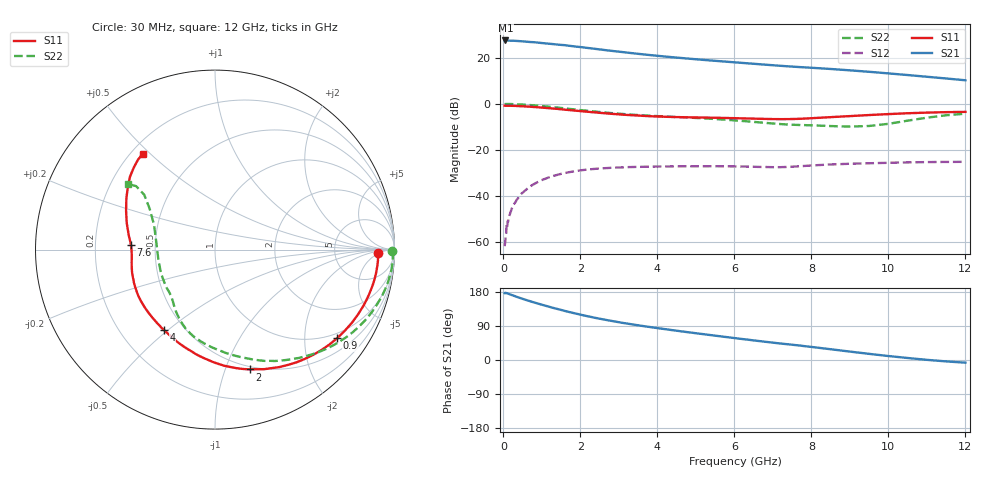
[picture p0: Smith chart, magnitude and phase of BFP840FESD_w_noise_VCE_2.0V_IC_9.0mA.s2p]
! Infineon Technologies  Discrete & RF Semiconductors
! BFP840FESD
! VCE =  2.0 V,  IC =  9.0 mA
! Common Emitter S-Parameters:  May 2012
# GHz  S  MA  R  50
!  f  S11  S21  S12  S22
! GHz  MAG  ANG  MAG  ANG  MAG  ANG  MAG  ANG
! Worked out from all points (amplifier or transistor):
!   103 points, 30 MHz to 12 GHz, reference 50 ohm
!   highest |S21| = 27.6 dB at 50 MHz (marker M1)
!   |S21| within 3 dB of that: start of sweep to 2.063 GHz
!   unconditionally stable (mu >= 1): 6.557 GHz to end of sweep
!   at 400 MHz: K = 0.11, MSG = 34.0 dB, |S12| = -40.6 dB
!   at 3.7 GHz: K = 0.50, MSG = 24.4 dB, |S12| = -27.4 dB
!   at 12 GHz: K = 1.16, MAG = 15.3 dB, |S12| = -25.2 dB
!   lowest NFmin = 0.64 dB at 450 MHz
!   S11 on the Smith chart (normalised r, x): 30 MHz: 20, -5; 900 MHz: 0.85, -2.86; 2 GHz: 0.47, -1.22; 4 GHz: 0.39, -0.48; 7.6 GHz: 0.36, +0.03; 12 GHz: 0.25, +0.47
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0.03  0.9108 -1.2  23.88 176.3  0.0008 43.0  0.9859 -0.5
0.04  0.9109 -1.6  23.87 176.1  0.0009 54.6  0.9879 -0.8
0.05  0.9092 -2.0  23.94 177.3  0.0011 90.1  0.9906 -1.1
0.08  0.9088 -3.3  23.88 176.4  0.0024 71.0  0.9913 -2.2
0.3  0.901 -12.5  23.49 168.4  0.007 80.7  0.9827 -9.7
0.5  0.8849 -20.5  22.88 161.3  0.0117 75.8  0.9642 -16.0
0.9  0.8408 -35.9  21.48 148.8  0.0201 66.5  0.9109 -27.9
1.2  0.8024 -46.9  20.27 140.1  0.0255 59.9  0.8635 -36.4
1.6  0.7466 -61.2  18.89 129.3  0.0313 52.0  0.7963 -47.1
2  0.695 -73.8  17.19 119.7  0.0357 45.0  0.7324 -57.1
2.1  0.6828 -76.9  16.81 117.3  0.0365 43.2  0.7181 -59.4
2.6  0.6277 -90.7  14.93 107.0  0.0397 36.5  0.6532 -70.1
3  0.5911 -100.7  13.64 99.7  0.0413 32.1  0.6111 -77.4
3.4  0.5618 -109.9  12.5 93.1  0.0423 28.8  0.5782 -84.2
4  0.5306 -122.4  11.1 84.2  0.0432 25.2  0.541 -92.7
4.1  0.5274 -124.5  10.89 82.8  0.0434 24.7  0.5355 -94.1
5  0.506 -141.3  9.331 70.6  0.0439 21.0  0.4924 -105.1
6.1  0.4848 -159.5  7.895 56.6  0.0434 18.5  0.431 -117.7
7.6  0.4698 176.7  6.381 39.2  0.0434 23.9  0.3487 -136.9
8.5  0.5134 163.3  5.736 28.4  0.048 24.2  0.3285 -156.5
10.5  0.6243 139.3  4.234 5.3  0.0533 21.5  0.4309 147.8
12  0.6686 127.1  3.256 -7.1  0.0547 21.5  0.6099 143.0
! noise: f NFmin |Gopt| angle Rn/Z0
0.45  0.64  0.36  5  0.14
0.9  0.66  0.34  12  0.15
1.5  0.68  0.31  17  0.14
1.9  0.68  0.28  27  0.15
2.4  0.7  0.26  35  0.15
3.5  0.71  0.25  56  0.14
5.5  0.77  0.17  99  0.12
8  0.89  0.15  161  0.12
10  1.03  0.24  -139  0.12
12  1.25  0.4  -117  0.14
